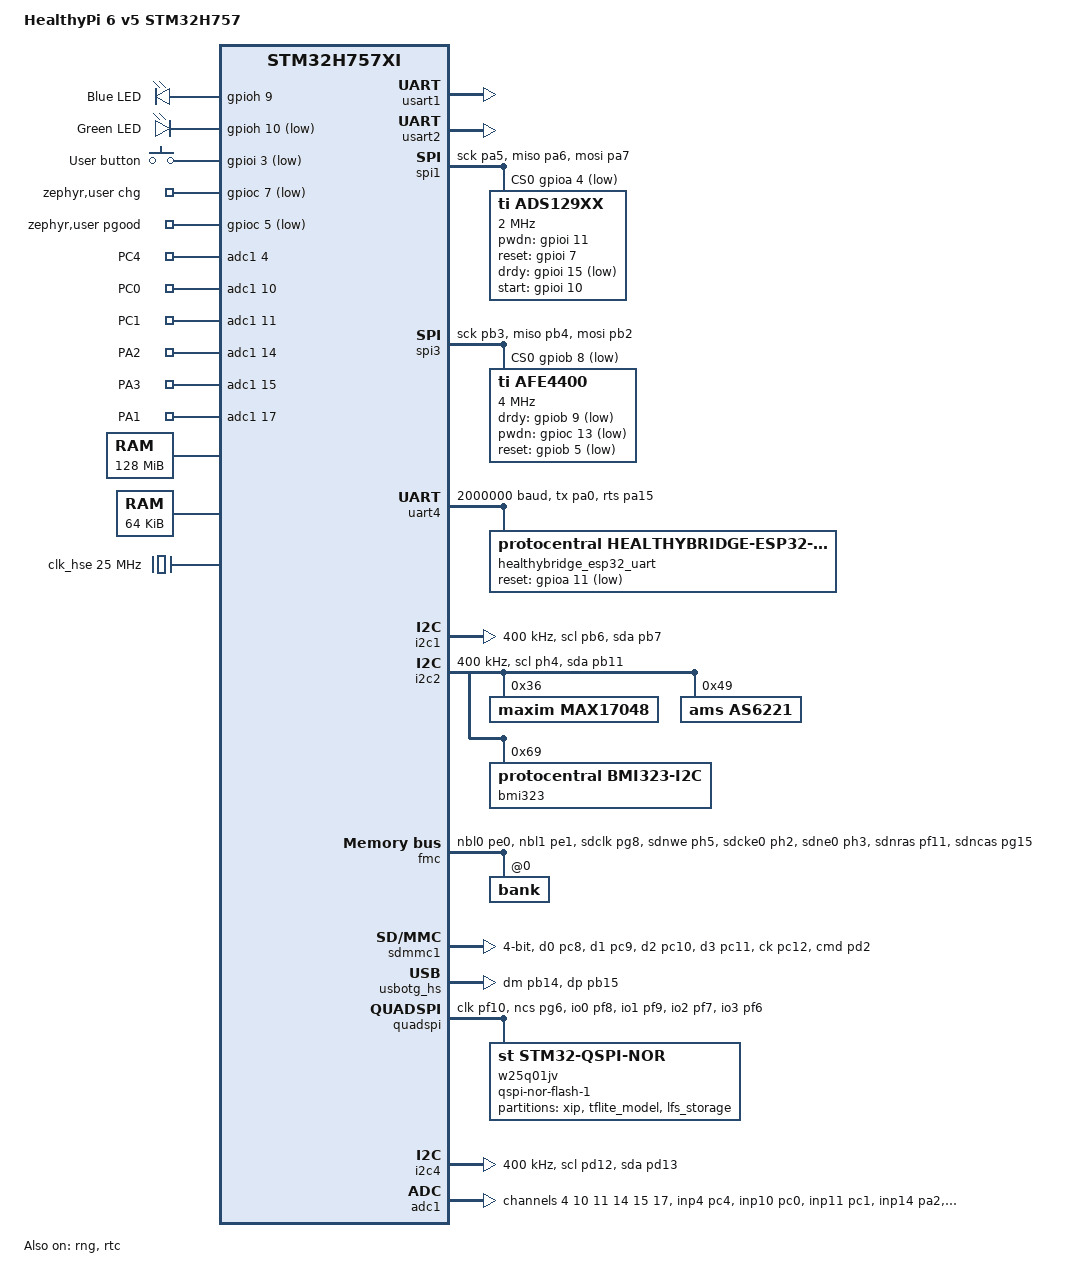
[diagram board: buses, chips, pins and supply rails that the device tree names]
/*
 * Copyright (c) 2019 Linaro Limited
 * Copyright (c) 2025-2026 ProtoCentral
 *
 * SPDX-License-Identifier: Apache-2.0
 */

/dts-v1/;
#include <st/h7/stm32h757Xi_m7.dtsi>
#include <st/h7/stm32h757bitx-pinctrl.dtsi>
#include <zephyr/dt-bindings/memory-attr/memory-attr-arm.h>
#include <zephyr/dt-bindings/adc/adc.h>
#include <zephyr/dt-bindings/input/input-event-codes.h>
#include "healthypi6_v5.dtsi"

/*
 * UART4 RX with an explicit pull-up. The ESP32-C6 is held in reset at boot,
 * which leaves its TX pin high-Z; an unbiased PI9 then floats at 2 Mbaud and
 * the receiver latches framing errors in an endless restart loop. A pull-up
 * makes an undriven line read as UART idle (mark), i.e. silence.
 */
&pinctrl {
	uart4_rx_pi9_pullup: uart4_rx_pi9_pullup {
		pinmux = <STM32_PINMUX('I', 9, AF8)>;
		bias-pull-up;
	};

	/*
	 * UART4 CTS with a pull-down instead of the HAL default pull-up.
	 *
	 * nCTS is ACTIVE LOW. A pull-up reads as "NOT clear to send" whenever
	 * the far end is not driving -- i.e. while the ESP32-C6 is held in
	 * reset, is booting, or is depopulated -- and with hw-flow-control that
	 * stalls the transmitter until every uart_tx() burns its full timeout.
	 * A pull-down fails the other way: an absent ESP32 reads as "clear to
	 * send" and bytes go into nothing, the same failure mode as a link with
	 * no flow control. Callers should still pass a bounded timeout to
	 * uart_tx().
	 */
	uart4_cts_pb0_pulldown: uart4_cts_pb0_pulldown {
		pinmux = <STM32_PINMUX('B', 0, AF8)>;
		bias-pull-down;
	};
};

/ {
	model = "HealthyPi 6 v5 STM32H757";
	compatible = "protocentral,healthypi6_v5";

	/* HW resources are split between CM7 and CM4 */
	chosen {
		zephyr,console = &usart1;
		zephyr,shell-uart = &usart1;
		zephyr,sram = &sram0;
		zephyr,flash = &flash0;
		zephyr,flash-controller = &w25q01jv;
		/* CDC 0 (cdc_acm_uart0) carries the one-way .HP6 sample stream;
		 * CDC 1 (cdc_acm_uart1) carries MCUmgr SMP request/response. */
		zephyr,uart-mcumgr = &cdc_acm_uart1;
	};

	leds {
		compatible = "gpio-leds";
		blue_led: led_blue {
			gpios = <&gpioh 9 GPIO_ACTIVE_HIGH>;
			label = "Blue LED";
			status = "okay";
		};
		green_led: led_green {
			/* Wired between VDD and PH10, so the pin sinks current
			 * when driven LOW = LED on. ACTIVE_LOW keeps call sites
			 * polarity-agnostic. */
			gpios = <&gpioh 10 GPIO_ACTIVE_LOW>;
			label = "Green LED";
			status = "okay";
		};
	};

	/* HealthyLink per-slot power/fault/detect are modeled as
	 * "protocentral,healthylink-slot" nodes (healthylink_slot_a / _b) in
	 * healthypi6_v5.dtsi, alongside the healthylink controller + EEPROM. */

	/*
	 * The single user button, on PI3. Active low with an EXTERNAL pull-up --
	 * so no GPIO_PULL_UP here, or the internal pull would sit in parallel
	 * with the board's. Polarity matters more than usual: the button map
	 * puts power-off on a 5 s hold, so a pin that reads permanently asserted
	 * would shut the device down by itself.
	 */
	buttons {
		compatible = "gpio-keys";
		user_button: button_user {
			gpios = <&gpioi 3 GPIO_ACTIVE_LOW>;
			label = "User button";
			zephyr,code = <INPUT_KEY_POWER>;
			status = "okay";
		};
	};

	aliases {
		blue-led = &blue_led;
		green-led = &green_led;
		sw0 = &user_button;
		/* Zephyr MCUmgr's os/datetime handler looks up the RTC via
		 * DT_ALIAS(rtc). Without this alias, datetime_get/set return
		 * ENOENT from the stock handler. */
		rtc = &rtc;
	};

	/* Expansion-connector analog inputs. Nothing in the app reads these
	 * channels today (PA4-PA7 carry SPI1 instead). */
	zephyr,user {
		/* PC5 is NOT here -- it is the charger's PGOOD input below, and
		 * ANALOG mode would break the GPIO read on it. */
		io-channels = <&adc1 4>,   /* PC4 - INP4 */
		              <&adc1 10>,  /* PC0 - INP10 */
		              <&adc1 11>,  /* PC1 - INP11 */
		              <&adc1 14>,  /* PA2 - INP14 */
		              <&adc1 15>,  /* PA3 - INP15 */
		              <&adc1 17>;  /* PA1 - INP17 */
		io-channel-names = "PC4", "PC0", "PC1",
		                   "PA2", "PA3", "PA1";

		/*
		 * BQ24074 charger status. Both are OPEN-DRAIN, ACTIVE LOW, and the
		 * part has no register interface at all -- these two pins are the
		 * only thing it tells the MCU.
		 *
		 *   CHG   (PC7) low  = a charge cycle is in progress
		 *   PGOOD (PC5) low  = a valid input supply is present
		 *
		 * Pull-ups requested here so the read is defined whether or not the
		 * board fits external ones; an internal pull in parallel with an
		 * external one is harmless.
		 *
		 * Charge CURRENT is not adjustable from firmware: it is set by
		 * R_ISET, and the input ceiling by EN1/EN2, which are hard-strapped
		 * on this board. See power_service.c.
		 */
		chg-gpios   = <&gpioc 7 (GPIO_ACTIVE_LOW | GPIO_PULL_UP)>;
		pgood-gpios = <&gpioc 5 (GPIO_ACTIVE_LOW | GPIO_PULL_UP)>;
	};

	/* W9825G6KH SDRAM: 4M x 4 banks x 16 bits = 32 Megabytes
	 * Single chip connected to FMC SDRAM Bank 0 (SDNE0/SDCKE0)
	 * Address range: 0xC0000000 - 0xC1FFFFFF (32 MB)
	 */
	sdram1: sdram@c0000000 {
		compatible = "zephyr,memory-region", "mmio-sram";
		device_type = "memory";
		reg = <0xc0000000 DT_SIZE_M(32)>;  /* Full 32 MB of W9825G6KH */
		zephyr,memory-region = "SDRAM1";
		zephyr,memory-attr = <( DT_MEM_ARM(ATTR_MPU_RAM) )>;
	};

	ext_memory: memory@90000000 {
		compatible = "zephyr,memory-region";
		reg = <0x90000000 DT_SIZE_M(128)>; /* 1 Gbit */
		zephyr,memory-region = "EXTMEM";
		/* ATTR_MPU_EXTMEM causes an MPU fault here; IO works. */
		zephyr,memory-attr = <( DT_MEM_ARM(ATTR_MPU_IO) )>;
	};

	// IPC between CM7 and CM4 - OpenAMP/RPMSG Implementation
	// OpenAMP manages memory internally with static VRINGs (no dynamic allocation)
	sram_ipc: memory@38000000 {
		 zephyr,memory-region = "SRAM_IPC";
		 compatible = "zephyr,memory-region", "mmio-sram";
		 reg = <0x38000000 0x10000>;  // 64 KB total (full SRAM4)
		 zephyr,memory-attr = <( DT_MEM_ARM(ATTR_MPU_RAM_NOCACHE) )>;
	 };

	ipc0: ipc0 {
		compatible = "zephyr,ipc-openamp-static-vrings";
		memory-region = <&sram_ipc>;
		mboxes = <&mailbox 11>, <&mailbox 10>;
		mbox-names = "tx", "rx";
		role = "host";  // M7 is OpenAMP host, M4 is remote
		zephyr,buffer-size = <512>;  // Match largest message (ECG: 452 bytes)
		status = "okay";
	};
};

&clk_hse {
	clock-frequency = <DT_FREQ_M(25)>;
	status = "okay";
};

/* LSE 32.768 kHz crystal for RTC - battery-backed via VBAT pin */
&clk_lse {
	status = "okay";
	driving-capability = <3>;
};

&clk_hsi48 {
	status = "okay";
};

/* PLL1: 25 MHz / 5 = 5 MHz input × 160 = 800 MHz VCO
 *   P = 800/2 = 400 MHz (SYSCLK)
 *   Q = 800/4 = 200 MHz
 *   R = 800/2 = 400 MHz
 */
&pll {
	div-m = <5>;
	mul-n = <160>;
	div-p = <2>;
	div-q = <4>;
	div-r = <2>;
	clocks = <&clk_hse>;
	status = "okay";
};

/* PLL2: 25 MHz / 5 = 5 MHz input × 96 = 480 MHz VCO
 *   R = 480/10 = 48 MHz (SDMMC clock)
 */
&pll2 {
	div-m = <5>;
	mul-n = <96>;
	div-p = <2>;
	div-q = <4>;
	div-r = <10>;
	clocks = <&clk_hse>;
	status = "okay";
};

&rcc {
	clocks = <&pll>;
	clock-frequency = <DT_FREQ_M(400)>;
};

&usart1 {
	status = "okay";
};

&usart2 {
	status = "okay";
};

&spi1 {
	status = "okay";
	pinctrl-0 = <&spi1_sck_pa5 &spi1_miso_pa6 &spi1_mosi_pa7>;
	pinctrl-names = "default";
	cs-gpios = <&gpioa 4 GPIO_ACTIVE_LOW>;

	ads129xx: ads129xx@0 {
		compatible = "ti,ads129xx";
		reg = <0x00>;
		spi-max-frequency = <DT_FREQ_M(2)>;

		pwdn-gpios = <&gpioi 11 GPIO_ACTIVE_HIGH>;
		reset-gpios = <&gpioi 7 GPIO_ACTIVE_HIGH>;
		drdy-gpios = <&gpioi 15 GPIO_ACTIVE_LOW>;
		start-gpios = <&gpioi 10 GPIO_ACTIVE_HIGH>;

		gain = <6>;

		status = "okay";
	};
};

/* DMA controllers + mux (used by UART4). */
&dma1 {
	status = "okay";
};

&dma2 {
	status = "okay";
};

&dmamux1 {
	status = "okay";
};

/*
 * SPI2 is unused: the ESP32-C6 link runs on UART4 (below). The pins --
 * PB10/PC2_C/PC3_C/PB12 plus PB1 and PB13 -- are still routed to the C6 but no
 * longer driven; left disabled rather than deleted so the wiring stays
 * documented.
 */
&spi2 {
	status = "disabled";
};

&spi3 {
	status = "okay";
	pinctrl-0 = <&spi3_sck_pb3 &spi3_miso_pb4 &spi3_mosi_pb2>;
	pinctrl-names = "default";
	cs-gpios = <&gpiob 8 GPIO_ACTIVE_LOW>;

	afe4400: afe4400@0 {
		label = "AFE4400";
		status = "okay";
		compatible = "ti,afe4400";
		reg = <0>;
		spi-max-frequency = <DT_FREQ_M(4)>;
		drdy-gpios = <&gpiob 9 GPIO_ACTIVE_LOW>;
		pwdn-gpios = <&gpioc 13 GPIO_ACTIVE_LOW>;
		reset-gpios = <&gpiob 5 GPIO_ACTIVE_LOW>;
	};
};

/*
 * UART4 -- the ESP32-C6 host link, with hardware flow control.
 *
 *   M7 pin  function          dir      C6 GPIO   C6 function
 *   ------  ----------------  -------  -------   -----------
 *   PA0     uart4_tx_pa0      M7 -> C6    22     RX
 *   PI9     uart4_rx_pi9      C6 -> M7    19     TX
 *   PA15    uart4_rts_pa15    M7 -> C6    21     CTS
 *   PB0     uart4_cts_pb0     C6 -> M7    20     RTS
 *
 * Note the crossover: the M7's TX is the C6's RX and the M7's RTS drives the
 * C6's CTS.
 *
 * DMA is required at this rate -- byte interrupts would cost ~200k IRQ/s at
 * 2 Mbaud. UART4's DMAMUX requests are TX = 64, RX = 63; the dmas property is
 * inert until CONFIG_UART_ASYNC_API is enabled.
 */
&uart4 {
	status = "okay";
	pinctrl-0 = <&uart4_tx_pa0 &uart4_rx_pi9_pullup
		     &uart4_rts_pa15 &uart4_cts_pb0_pulldown>;
	pinctrl-names = "default";
	/*
	 * 2 Mbaud -- an exact divisor at both ends, so there is no baud error to
	 * chase: STM32 PCLK1 100 MHz / 50, ESP32-C6 PLL_F80M 80 MHz / 40.
	 *
	 * MUST match CONFIG_HB_UART_BAUD_HP6 on the ESP32-C6. A mismatch is not
	 * a graceful failure -- it is framing errors that look like bad wiring.
	 */
	current-speed = <2000000>;
	hw-flow-control;
	fifo-enable;

	dmas = <&dmamux1 2 64 (STM32_DMA_PERIPH_TX | STM32_DMA_PRIORITY_HIGH)>,
	       <&dmamux1 3 63 (STM32_DMA_PERIPH_RX | STM32_DMA_PRIORITY_HIGH)>;
	dma-names = "tx", "rx";

	healthybridge_esp32_uart: healthybridge-esp32-uart {
		compatible = "protocentral,healthybridge-esp32-uart";
		status = "okay";

		/* ESP32-C6 reset, PA11, active low. */
		reset-gpios = <&gpioa 11 GPIO_ACTIVE_LOW>;
	};
};

&i2c1 {
	status = "okay";
	compatible = "st,stm32-i2c-v2";
	pinctrl-0 = <&i2c1_scl_pb6 &i2c1_sda_pb7>;
	pinctrl-names = "default";
	clock-frequency = <I2C_BITRATE_FAST>;
	sq-size = <1024>;
	cq-size = <1024>;
};

&i2c2 {
	status = "okay";
	pinctrl-0 = <&i2c2_scl_ph4 &i2c2_sda_pb11>;
	pinctrl-names = "default";
	clock-frequency = <I2C_BITRATE_FAST>;

	max17048: max17048@36 {
		compatible = "maxim,max17048";
		status = "okay";
		reg = <0x36>;
	};

	/* ams AS6221 digital temperature sensor. Driven by Zephyr's tmp108
	 * driver, which covers the TI TMP108 and the ams AS621x/AS6221 --
	 * CONFIG_TMP108 turns itself on from this compatible.
	 *
	 * v5 ONLY. v2/v3/v4 keep their maxim,max30205 nodes -- those boards
	 * carry the Maxim part, and pointing them at ams would be worse than
	 * leaving them: the MAX30205 node was inert (no driver existed for it
	 * anywhere in the tree), whereas this compatible pulls in a real driver
	 * that writes a config register at init and would fail on the wrong
	 * silicon.
	 *
	 * The address is carried over unchanged from the node this replaced.
	 * CONFIRM 0x49 against the schematic -- it is set by the AS6221's ADDR
	 * pin strapping, a different pin on a different part. Nothing answered
	 * at 0x49 on the bench unit (2026-08-31): a full 7-bit scan of i2c2
	 * found only 0x36 (MAX17048) and 0x69 (BMI323), and i2c1 was empty, so
	 * no temperature sensor is fitted on that particular board. */
	as6221: as6221@49 {
		compatible = "ams,as6221";
		status = "okay";
		reg = <0x49>;
	};

	/* Bosch BMI323 6-axis IMU. SDO is strapped high on v4, so the
	 * 7-bit address is 0x69. Uses the local I2C fork of the upstream
	 * (SPI-only) bosch,bmi323 driver.
	 */
	bmi323: imu@69 {
		compatible = "protocentral,bmi323-i2c";
		status = "okay";
		reg = <0x69>;
	};
};

&flash0 {
	/* H757 = 2 x 1 MB banks. Without this, the flash driver derives the part
	 * size from this node alone (1 MB), believes the part has a bank
	 * "discontinuity" at 512 KB, and rejects every access in the upper half
	 * of bank 1 -- which breaks MCUboot's slot0 trailer reads. */
	bank2-flash-size = <1024>;

	partitions {
		compatible = "fixed-partitions";
		#address-cells = <1>;
		#size-cells = <1>;

		/* Set 2KB of storage at the end of first 1MB flash */
		storage_partition: partition@ff800 {
			label = "storage";
			reg = <0x000ff800 DT_SIZE_K(2)>;
		};
	};
};

&rng {
	status = "okay";
};

/* FMC Configuration for W9825G6KH SDRAM (32 MB) */
&fmc {
	status = "okay";
	pinctrl-0 = <&fmc_nbl0_pe0 &fmc_nbl1_pe1
	&fmc_sdclk_pg8 &fmc_sdnwe_ph5 &fmc_sdcke0_ph2
	&fmc_sdne0_ph3 &fmc_sdnras_pf11 &fmc_sdncas_pg15

	&fmc_a0_pf0 &fmc_a1_pf1 &fmc_a2_pf2 &fmc_a3_pf3 &fmc_a4_pf4
	&fmc_a5_pf5 &fmc_a6_pf12 &fmc_a7_pf13 &fmc_a8_pf14
	&fmc_a9_pf15 &fmc_a10_pg0 &fmc_a11_pg1 &fmc_a12_pg2
	/* BA0 */ &fmc_a14_pg4 /*BA1 */ &fmc_a15_pg5

	&fmc_d0_pd14 &fmc_d1_pd15 &fmc_d2_pd0 &fmc_d3_pd1
	&fmc_d4_pe7 &fmc_d5_pe8 &fmc_d6_pe9 &fmc_d7_pe10
	&fmc_d8_pe11 &fmc_d9_pe12 &fmc_d10_pe13 &fmc_d11_pe14
	&fmc_d12_pe15 &fmc_d13_pd8 &fmc_d14_pd9 &fmc_d15_pd10>;
	pinctrl-names = "default";

	sdram {
		status = "okay";

		power-up-delay = <100>;
		num-auto-refresh = <8>;
		mode-register = <0x220>;
		refresh-rate = <603>;

		/* W9825G6KH on FMC Bank 0 (SDNE0/SDCKE0) @ 0xC0000000 */
		bank@0 {
			reg = <0>;
			st,sdram-control = <STM32_FMC_SDRAM_NC_9
			STM32_FMC_SDRAM_NR_13
			STM32_FMC_SDRAM_MWID_16
			STM32_FMC_SDRAM_NB_4
			STM32_FMC_SDRAM_CAS_2
			STM32_FMC_SDRAM_SDCLK_PERIOD_2
			STM32_FMC_SDRAM_RBURST_ENABLE
			STM32_FMC_SDRAM_RPIPE_0>;
			st,sdram-timing = <2 6 4 6 2 2 2>;
		};
	};
};

&sdmmc1 {
	status = "okay";
	clocks = <&rcc STM32_CLOCK_BUS_AHB3 0x00010000>,
	         <&rcc STM32_SRC_PLL2_R SDMMC_SEL(1)>;
	pinctrl-0 = <&sdmmc1_d0_pc8 &sdmmc1_d1_pc9
	&sdmmc1_d2_pc10 &sdmmc1_d3_pc11
	&sdmmc1_ck_pc12 &sdmmc1_cmd_pd2>;
	bus-width = <4>;
	disk-name = "SD";
	pinctrl-names = "default";
	/* No card-detect line -- the card is probed at boot only. */
};

zephyr_udc0: &usbotg_hs {
	status = "okay";
	pinctrl-0 = <&usb_otg_hs_dm_pb14 &usb_otg_hs_dp_pb15>;
	pinctrl-names = "default";
	/* CDC 0 -- one-way .HP6 sample stream (device -> host). */
	cdc_acm_uart0: cdc_acm_uart0 {
		compatible = "zephyr,cdc-acm-uart";
	};
	/* CDC 1 -- MCUmgr SMP control pipe (bidirectional); bound to
	 * zephyr,uart-mcumgr in the `chosen` node above. */
	cdc_acm_uart1: cdc_acm_uart1 {
		compatible = "zephyr,cdc-acm-uart";
	};
};

&mailbox {
	status = "okay";
};

&backup_sram{
	status = "okay";
};

/* RTC - Real-Time Clock with battery backup */
&rtc {
	status = "okay";
	clocks = <&rcc STM32_CLOCK_BUS_APB4 0x00010000>,
	         <&rcc STM32_SRC_LSE RTC_SEL(1)>;
};

/*
 * QUADSPI -- W25Q01JV in full quad (4-bit) mode; IO2/IO3 are on PF7/PF6, so
 * there is no PE2 conflict with SPI4. Quad reads are ~4x dual.
 *
 * writeoc MUST stay PP_1_1_4: the W25Q01JV does not implement the default
 * PP_1_4_4 (0x38) opcode, and writes through it are corrupted.
 */
&quadspi {
	pinctrl-0 = <&quadspi_clk_pf10 &quadspi_bk1_ncs_pg6
	&quadspi_bk1_io0_pf8 &quadspi_bk1_io1_pf9
	&quadspi_bk1_io2_pf7 &quadspi_bk1_io3_pf6>;
	pinctrl-names = "default";
	status = "okay";

	w25q01jv: qspi-nor-flash-1@90000000 {
		compatible = "st,stm32-qspi-nor";
		reg = <0x90000000>;
		size = <1073741824>; /* 128 MBytes */
		qspi-max-frequency = <48000000>;
		spi-bus-width = <4>;
		quad-enable-requirements = "S2B1v1";
		writeoc = "PP_1_1_4";
		status = "okay";

		partitions {
			compatible = "fixed-partitions";
			#address-cells = <1>;
			#size-cells = <1>;

			/* XIP (Execute In Place) partition - 56MB for code/assets */
			xip_partition: partition@0 {
				label = "xip";
				reg = <0x0 DT_SIZE_M(56)>;
			};

			/* Model storage - 8 MB, XIP-addressable */
			model_partition: partition@3800000 {
				label = "tflite_model";
				reg = <0x3800000 DT_SIZE_M(8)>;
			};

			/* LittleFS storage - 64 MB */
			lfs_partition: partition@4000000 {
				label = "lfs_storage";
				reg = <0x4000000 DT_SIZE_M(64)>;
			};
		};
	};
};

/* alias used by display shields with touch control */
qsh_030_i2c: &i2c4 {
	pinctrl-0 = <&i2c4_scl_pd12 &i2c4_sda_pd13>;
	pinctrl-names = "default";
	clock-frequency = <I2C_BITRATE_FAST>;
	status = "okay";
};

/* aliases used by display configuration */
zephyr_mipi_dsi: &mipi_dsi {};
zephyr_lcd_controller: &ltdc {};

/* SRAM2 - Non-cached memory for DMA buffers */
&sram2 {
	status = "okay";
	zephyr,memory-attr = <( DT_MEM_ARM(ATTR_MPU_RAM_NOCACHE) )>;
};

/* Internal ADC1 -- expansion analog inputs: PA1-PA3, PC0, PC1, PC4.
 * PA4-PA7 carry SPI1; PC5 is the charger PGOOD.
 */
&adc1 {
	status = "okay";
	#address-cells = <1>;
	#size-cells = <0>;

	/* No adc1_inp8_pc5: PC5 is the charger PGOOD input, and analog mode
	 * would pin its GPIO read to one value. */
	pinctrl-0 = <&adc1_inp4_pc4
	             &adc1_inp10_pc0 &adc1_inp11_pc1 &adc1_inp14_pa2 &adc1_inp15_pa3
	             &adc1_inp17_pa1>;
	pinctrl-names = "default";

	/* ADC clock configuration for STM32H7 - use synchronous bus clock */
	st,adc-clock-source = "SYNC";
	st,adc-prescaler = <4>;

	/* PC4 - ADC1_INP4 */
	channel@4 {
		reg = <4>;
		zephyr,gain = "ADC_GAIN_1";
		zephyr,reference = "ADC_REF_INTERNAL";
		zephyr,acquisition-time = <ADC_ACQ_TIME(ADC_ACQ_TIME_TICKS, 811)>;
		zephyr,resolution = <16>;
	};

	/* PC0 - ADC1_INP10 */
	channel@a {
		reg = <10>;
		zephyr,gain = "ADC_GAIN_1";
		zephyr,reference = "ADC_REF_INTERNAL";
		zephyr,acquisition-time = <ADC_ACQ_TIME(ADC_ACQ_TIME_TICKS, 811)>;
		zephyr,resolution = <16>;
	};

	/* PC1 - ADC1_INP11 */
	channel@b {
		reg = <11>;
		zephyr,gain = "ADC_GAIN_1";
		zephyr,reference = "ADC_REF_INTERNAL";
		zephyr,acquisition-time = <ADC_ACQ_TIME(ADC_ACQ_TIME_TICKS, 811)>;
		zephyr,resolution = <16>;
	};

	/* PA2 - ADC1_INP14 */
	channel@e {
		reg = <14>;
		zephyr,gain = "ADC_GAIN_1";
		zephyr,reference = "ADC_REF_INTERNAL";
		zephyr,acquisition-time = <ADC_ACQ_TIME(ADC_ACQ_TIME_TICKS, 811)>;
		zephyr,resolution = <16>;
	};

	/* PA3 - ADC1_INP15 */
	channel@f {
		reg = <15>;
		zephyr,gain = "ADC_GAIN_1";
		zephyr,reference = "ADC_REF_INTERNAL";
		zephyr,acquisition-time = <ADC_ACQ_TIME(ADC_ACQ_TIME_TICKS, 811)>;
		zephyr,resolution = <16>;
	};

	/* PA1 - ADC1_INP17 */
	channel@11 {
		reg = <17>;
		zephyr,gain = "ADC_GAIN_1";
		zephyr,reference = "ADC_REF_INTERNAL";
		zephyr,acquisition-time = <ADC_ACQ_TIME(ADC_ACQ_TIME_TICKS, 811)>;
		zephyr,resolution = <16>;
	};
};

/* v5 power supply: LDO-only (the SMPS path is not populated on this board).
 *
 * "ldo" needs no smps-output-voltage property. Do NOT use "smps-ldo" or
 * "smps-direct" here -- with no SMPS inductor/filter fitted, any SMPS mode
 * collapses Vcore and deadlocks the part during boot (no debug, no reprogram).
 */
&pwr {
	power-supply = "ldo";
};
